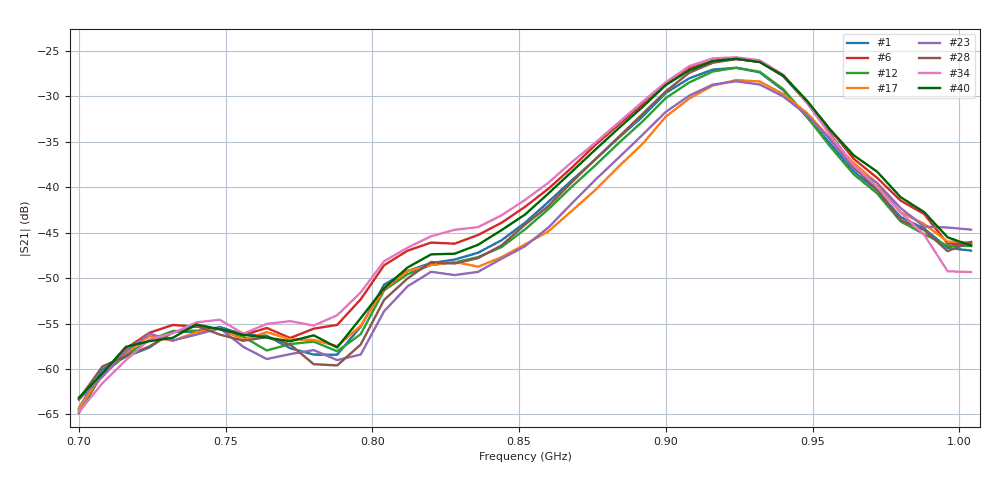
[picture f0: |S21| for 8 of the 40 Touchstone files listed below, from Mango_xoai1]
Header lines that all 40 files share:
# Hz S RI R 50
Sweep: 700 MHz to 1.004 GHz
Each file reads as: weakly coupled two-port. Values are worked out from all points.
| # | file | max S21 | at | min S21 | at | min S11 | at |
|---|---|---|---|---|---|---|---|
| 1 | xoai1x180 (39).s2p | -26.88 dB | 924 MHz | -64.3 dB | 700 MHz | -17.8 dB | 924 MHz |
| 2 | xoai1x180 (40).s2p | -27.23 dB | 924 MHz | -64.3 dB | 700 MHz | -16.8 dB | 932 MHz |
| 3 | xoai2.s2p | -26.51 dB | 924 MHz | -65.0 dB | 700 MHz | -18.4 dB | 924 MHz |
| 4 | xoai3.s2p | -26.75 dB | 924 MHz | -62.8 dB | 700 MHz | -17.3 dB | 924 MHz |
| 5 | xoai4.s2p | -26.64 dB | 924 MHz | -65.0 dB | 700 MHz | -18.7 dB | 924 MHz |
| 6 | xoai5.s2p | -25.90 dB | 924 MHz | -64.8 dB | 700 MHz | -17.4 dB | 924 MHz |
| 7 | xoai6.s2p | -25.93 dB | 932 MHz | -64.2 dB | 700 MHz | -20.2 dB | 924 MHz |
| 8 | xoai7.s2p | -28.63 dB | 932 MHz | -64.5 dB | 700 MHz | -17.7 dB | 924 MHz |
| 9 | xoai8.s2p | -26.94 dB | 924 MHz | -64.8 dB | 700 MHz | -16.8 dB | 924 MHz |
| 10 | xoai9.s2p | -27.66 dB | 924 MHz | -65.4 dB | 788 MHz | -19.3 dB | 924 MHz |
| 11 | xoai10.s2p | -27.71 dB | 924 MHz | -62.9 dB | 700 MHz | -20.8 dB | 924 MHz |
| 12 | xoai11.s2p | -26.86 dB | 924 MHz | -64.6 dB | 700 MHz | -19.7 dB | 924 MHz |
| 13 | xoai12.s2p | -27.42 dB | 924 MHz | -62.8 dB | 700 MHz | -18.5 dB | 924 MHz |
| 14 | xoai13.s2p | -28.12 dB | 916 MHz | -64.0 dB | 700 MHz | -18.8 dB | 924 MHz |
| 15 | xoai14.s2p | -27.67 dB | 924 MHz | -62.9 dB | 700 MHz | -17.3 dB | 924 MHz |
| 16 | xoai15.s2p | -29.13 dB | 916 MHz | -64.5 dB | 700 MHz | -18.5 dB | 916 MHz |
| 17 | xoai16.s2p | -28.22 dB | 924 MHz | -64.3 dB | 700 MHz | -20.6 dB | 924 MHz |
| 18 | xoai17.s2p | -26.15 dB | 924 MHz | -64.2 dB | 700 MHz | -16.9 dB | 924 MHz |
| 19 | xoai18.s2p | -26.17 dB | 924 MHz | -64.2 dB | 700 MHz | -20.5 dB | 924 MHz |
| 20 | xoai19.s2p | -26.40 dB | 924 MHz | -63.2 dB | 700 MHz | -19.6 dB | 924 MHz |
| 21 | xoai20.s2p | -27.10 dB | 924 MHz | -64.4 dB | 700 MHz | -20.6 dB | 924 MHz |
| 22 | xoai21.s2p | -27.27 dB | 924 MHz | -64.3 dB | 700 MHz | -21.7 dB | 924 MHz |
| 23 | xoai22.s2p | -28.36 dB | 924 MHz | -63.4 dB | 700 MHz | -17.8 dB | 924 MHz |
| 24 | xoai23.s2p | -26.76 dB | 916 MHz | -63.4 dB | 700 MHz | -18.2 dB | 916 MHz |
| 25 | xoai24.s2p | -26.28 dB | 924 MHz | -65.3 dB | 700 MHz | -20.0 dB | 924 MHz |
| 26 | xoai25.s2p | -26.28 dB | 924 MHz | -65.4 dB | 700 MHz | -21.1 dB | 924 MHz |
| 27 | xoai26.s2p | -26.41 dB | 924 MHz | -62.6 dB | 700 MHz | -17.1 dB | 924 MHz |
| 28 | xoai27.s2p | -25.91 dB | 924 MHz | -63.3 dB | 700 MHz | -17.2 dB | 924 MHz |
| 29 | xoai28.s2p | -26.46 dB | 924 MHz | -63.8 dB | 700 MHz | -20.1 dB | 924 MHz |
| 30 | xoai29.s2p | -26.59 dB | 924 MHz | -62.5 dB | 700 MHz | -18.0 dB | 924 MHz |
| 31 | xoai30.s2p | -25.50 dB | 924 MHz | -64.4 dB | 700 MHz | -18.6 dB | 924 MHz |
| 32 | xoai31.s2p | -25.92 dB | 924 MHz | -64.3 dB | 700 MHz | -17.6 dB | 924 MHz |
| 33 | xoai32.s2p | -26.96 dB | 924 MHz | -61.8 dB | 700 MHz | -17.0 dB | 924 MHz |
| 34 | xoai33.s2p | -25.71 dB | 924 MHz | -64.7 dB | 700 MHz | -18.5 dB | 924 MHz |
| 35 | xoai34.s2p | -26.07 dB | 924 MHz | -65.6 dB | 700 MHz | -19.9 dB | 924 MHz |
| 36 | xoai35.s2p | -26.82 dB | 924 MHz | -63.8 dB | 700 MHz | -19.7 dB | 924 MHz |
| 37 | xoai36.s2p | -25.92 dB | 924 MHz | -64.7 dB | 700 MHz | -19.3 dB | 924 MHz |
| 38 | xoai37.s2p | -26.44 dB | 924 MHz | -63.9 dB | 700 MHz | -18.2 dB | 924 MHz |
| 39 | xoai38.s2p | -27.92 dB | 924 MHz | -64.5 dB | 700 MHz | -20.3 dB | 924 MHz |
| 40 | xoai39.s2p | -25.88 dB | 924 MHz | -63.2 dB | 700 MHz | -17.4 dB | 924 MHz |
